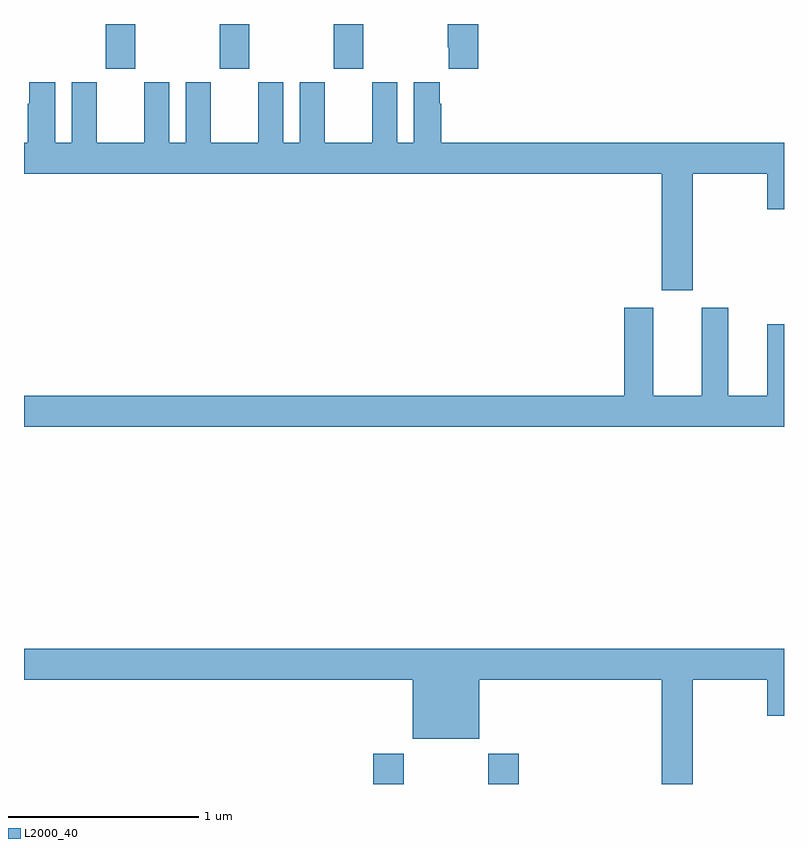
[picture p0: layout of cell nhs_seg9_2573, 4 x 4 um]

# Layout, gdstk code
import gdstk
lib = gdstk.Library(unit=1e-6, precision=1e-09)
def R(c, l, rs):  # rectangles x0, y0, x1, y1
    for r in rs: c.add(gdstk.rectangle(r[:2], r[2:], *l))
def A(c, l, x, y, w, h, nx, ny, dx, dy):  # array of equal rectangles
    R(c, l, [(x+i*dx, y+j*dy, x+i*dx+w, y+j*dy+h) for i in range(nx) for j in range(ny)])
def P(c, l, *ps):  # polygons
    for p in ps: c.add(gdstk.Polygon(p, *l))
L2000_40 = (2000, 40)

nhs_seg9_2573 = lib.new_cell('nhs_seg9_2573')
A(nhs_seg9_2573, L2000_40, 257.431, 1238.265, 0.155, 0.235, 3, 1, 0.6, 0)
R(nhs_seg9_2573, L2000_40, [(258.839,1234.5,258.999,1234.66), (259.444,1234.5,259.604,1234.66)])
P(nhs_seg9_2573, L2000_40, [(259.391,1238.5),(259.231,1238.5),(259.231,1238.377),(259.235,1238.377),(259.235,1238.265),(259.391,1238.265)],
  [(260.357,1237.098),(260.521,1237.098),(260.521,1237.712),(260.912,1237.712),(260.912,1237.524),(261,1237.524),(261,1237.876),(259.196,1237.876),(259.196,1238.081),(259.189,1238.081),(259.189,1238.194),(259.052,1238.194),(259.052,1237.876),(258.964,1237.876),(258.964,1238.194),(258.833,1238.194),(258.833,1237.876),(258.583,1237.876),(258.583,1238.194),(258.452,1238.194),(258.452,1237.876),(258.364,1237.876),(258.364,1238.194),(258.233,1238.194),(258.233,1237.876),(257.983,1237.876),(257.983,1238.194),(257.852,1238.194),(257.852,1237.876),(257.764,1237.876),(257.764,1238.194),(257.633,1238.194),(257.633,1237.876),(257.383,1237.876),(257.383,1238.194),(257.252,1238.194),(257.252,1237.876),(257.164,1237.876),(257.164,1238.194),(257.027,1238.194),(257.027,1238.081),(257.021,1238.081),(257.021,1237.876),(257,1237.876),(257,1237.712),(260.357,1237.712)],
  [(261,1236.919),(260.912,1236.919),(260.912,1236.544),(260.707,1236.544),(260.707,1237.006),(260.567,1237.006),(260.567,1236.544),(260.311,1236.544),(260.311,1237.006),(260.159,1237.006),(260.159,1236.544),(257,1236.544),(257,1236.38),(261,1236.38)],
  [(260.521,1235.048),(260.912,1235.048),(260.912,1234.86),(261,1234.86),(261,1235.212),(257,1235.212),(257,1235.048),(259.046,1235.048),(259.046,1234.739),(259.396,1234.739),(259.396,1235.048),(260.357,1235.048),(260.357,1234.5),(260.521,1234.5)])

lib.write_gds('nhs_seg9_2573.gds')
